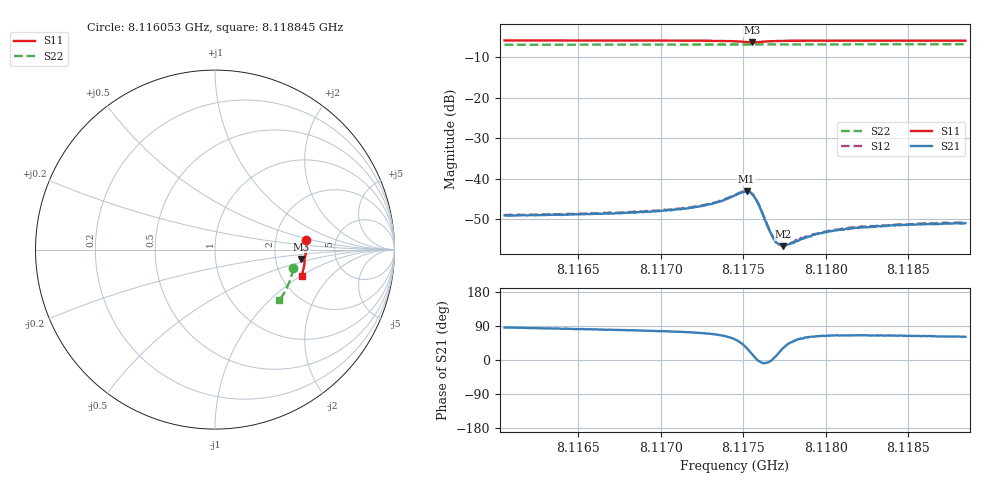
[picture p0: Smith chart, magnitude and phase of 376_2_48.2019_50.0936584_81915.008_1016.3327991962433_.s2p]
#  HZ  S  RI  R  50.00
! Rohde & Schwarz Vector Network Analyzer
! Rohde-Schwarz,ZNB20-2Port,1311601062101988,3.16
! Created: UTC 3/20/2024, 11:52:55 AM
! freq[Hz]  re:S11  im:S11  re:S21  im:S21  re:S12  im:S12  re:S22  im:S22
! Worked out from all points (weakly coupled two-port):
!   401 points, 8.116053 GHz to 8.118845 GHz, reference 50 ohm
!   highest |S21| = -43.15 dB at 8.117519 GHz (marker M1); lowest = -56.7 dB at 8.117742 GHz (marker M2)
!   lowest |S11| = -6.4 dB at 8.117554 GHz (marker M3), VSWR 2.85, Z = 140 - j18.9 ohm
!   |S11| at or under -10 dB: nowhere
!   |S22| runs from -7.0 to -6.8 dB; largest |S21 - S12| = 0.00019
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8.1160532e9  0.5045 0.0542  0.000262 0.00352  0.00034 0.00358  0.4364 -0.1048
8.1165209e9  0.5063 0.019  0.000525 0.0036  0.000606 0.00365  0.4289 -0.1363
8.1169885e9  0.5053 -0.017  0.000951 0.00387  0.00101 0.0039  0.4191 -0.1675
8.1172537e9  0.5025 -0.0393  0.00152 0.00438  0.0016 0.00443  0.4125 -0.1847
8.1173654e9  0.499 -0.0499  0.00224 0.00479  0.00234 0.00486  0.4093 -0.192
8.1174492e9  0.4926 -0.0583  0.00363 0.00509  0.00373 0.00509  0.4068 -0.1976
8.1174911e9  0.4859 -0.0603  0.00494 0.00464  0.00507 0.0047  0.4054 -0.2001
8.117519e9  0.4808 -0.0588  0.0059 0.00369  0.00603 0.0037  0.4043 -0.2015
8.1175329e9  0.4788 -0.0564  0.00618 0.00294  0.00629 0.00293  0.4038 -0.2024
8.1175539e9  0.4777 -0.052  0.00619 0.00161  0.00628 0.0016  0.4033 -0.2033
8.1175748e9  0.4795 -0.0477  0.00555 0.000431  0.00568 0.000385  0.4029 -0.2045
8.1175888e9  0.482 -0.0458  0.00492 -0.000118  0.00506 -0.000145  0.4026 -0.2054
8.1176586e9  0.4935 -0.0487  0.00227 -0.000167  0.00232 -0.000186  0.4011 -0.2097
8.1176865e9  0.4959 -0.0522  0.00176 0.000183  0.0018 0.00018  0.4004 -0.2117
8.1177144e9  0.4973 -0.0555  0.00146 0.000505  0.00147 0.000536  0.3996 -0.2134
8.1177423e9  0.4982 -0.0586  0.00124 0.000782  0.0013 0.00078  0.399 -0.2152
8.1177703e9  0.4987 -0.0617  0.00114 0.00103  0.00119 0.001  0.3979 -0.2171
8.1179168e9  0.4986 -0.0756  0.000944 0.00176  0.000961 0.00179  0.3933 -0.2264
8.1180843e9  0.4968 -0.0895  0.00102 0.00213  0.00101 0.00213  0.3877 -0.2368
8.118203e9  0.495 -0.0988  0.00105 0.00226  0.00106 0.00228  0.3837 -0.244
8.1183845e9  0.492 -0.1125  0.00114 0.00237  0.00118 0.00239  0.3771 -0.255
8.1188452e9  0.4829 -0.146  0.00136 0.00247  0.00139 0.00252  0.3591 -0.2819
